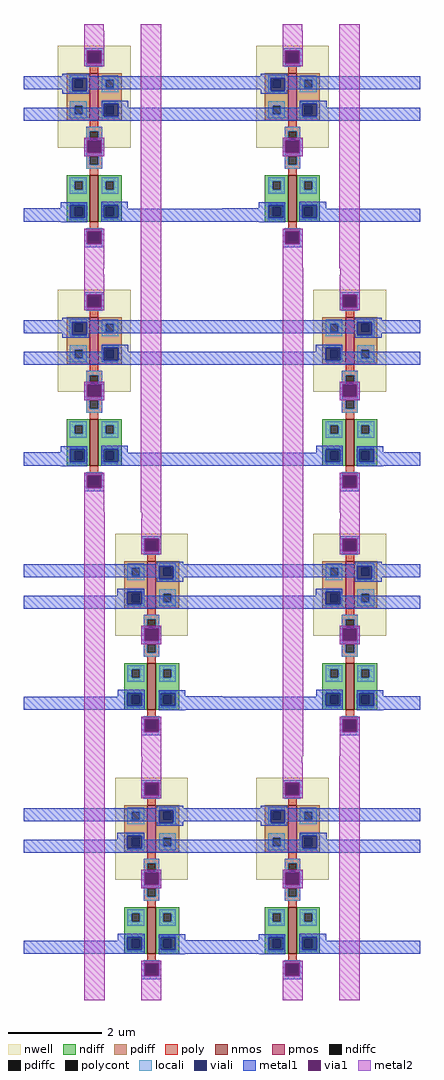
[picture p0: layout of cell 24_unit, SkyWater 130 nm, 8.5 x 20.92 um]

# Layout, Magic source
magic
tech sky130A
use 0  0_7
transform 1 0 425 0 1 -1566
box -89 43 336 566
use 0  0_6
transform -1 0 672 0 1 -1043
box -89 43 336 566
use 0  0_5
transform -1 0 672 0 1 -520
box -89 43 336 566
use 0  0_2
transform -1 0 247 0 1 -1566
box -89 43 336 566
use 0  0_4
transform -1 0 247 0 1 -1043
box -89 43 336 566
use 0  0_3
transform 1 0 0 0 1 -520
box -89 43 336 566
use 0  0_1
transform 1 0 425 0 1 3
box -89 43 336 566
use 0  0_0
transform 1 0 0 0 1 3
box -89 43 336 566
<< end >>

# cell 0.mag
magic
tech sky130A
<< nwell >>
rect -16 301 140 519
<< nmos >>
rect 53 142 71 242
<< pmos >>
rect 53 360 71 460
<< ndiff >>
rect 3 229 53 242
rect 3 211 20 229
rect 37 211 53 229
rect 3 173 53 211
rect 3 155 20 173
rect 37 155 53 173
rect 3 142 53 155
rect 71 229 121 242
rect 71 211 87 229
rect 104 211 121 229
rect 71 173 121 211
rect 71 155 87 173
rect 104 155 121 173
rect 71 142 121 155
<< pdiff >>
rect 3 447 53 460
rect 3 429 20 447
rect 37 429 53 447
rect 3 391 53 429
rect 3 373 20 391
rect 37 373 53 391
rect 3 360 53 373
rect 71 447 121 460
rect 71 429 87 447
rect 104 429 121 447
rect 71 391 121 429
rect 71 373 87 391
rect 104 373 121 391
rect 71 360 121 373
<< ndiffc >>
rect 20 211 37 229
rect 20 155 37 173
rect 87 211 104 229
rect 87 155 104 173
<< pdiffc >>
rect 20 429 37 447
rect 20 373 37 391
rect 87 429 104 447
rect 87 373 104 391
<< poly >>
rect 45 502 79 510
rect 45 484 53 502
rect 71 484 79 502
rect 45 474 79 484
rect 53 460 71 474
rect 53 346 71 360
rect 45 336 79 346
rect 45 318 53 336
rect 71 318 79 336
rect 45 282 79 318
rect 45 264 53 282
rect 71 264 79 282
rect 45 256 79 264
rect 53 242 71 256
rect 53 128 71 142
rect 45 120 79 128
rect 45 102 53 120
rect 71 102 79 120
rect 45 94 79 102
<< polycont >>
rect 53 484 71 502
rect 53 318 71 336
rect 53 264 71 282
rect 53 102 71 120
<< locali >>
rect 45 509 79 510
rect 45 482 47 509
rect 77 482 79 509
rect 45 474 79 482
rect 10 450 46 456
rect 10 423 15 450
rect 10 420 46 423
rect 78 447 114 456
rect 78 429 87 447
rect 104 429 114 447
rect 78 420 114 429
rect 10 391 46 400
rect 10 373 20 391
rect 37 373 46 391
rect 10 364 46 373
rect 78 395 114 400
rect 78 368 83 395
rect 78 364 114 368
rect 45 336 79 346
rect 45 318 53 336
rect 71 318 79 336
rect 45 317 79 318
rect 45 290 47 317
rect 77 290 79 317
rect 45 282 79 290
rect 45 264 53 282
rect 71 264 79 282
rect 45 256 79 264
rect 10 229 46 238
rect 10 211 20 229
rect 37 211 46 229
rect 10 202 46 211
rect 78 229 114 238
rect 78 211 87 229
rect 104 211 114 229
rect 78 202 114 211
rect 10 178 46 182
rect 10 151 11 178
rect 42 151 46 178
rect 10 146 46 151
rect 78 178 114 182
rect 78 151 83 178
rect 78 146 114 151
rect 45 122 79 128
rect 45 95 47 122
rect 77 95 79 122
rect 45 94 79 95
<< viali >>
rect 47 502 77 509
rect 47 484 53 502
rect 53 484 71 502
rect 71 484 77 502
rect 47 482 77 484
rect 15 447 46 450
rect 15 429 20 447
rect 20 429 37 447
rect 37 429 46 447
rect 15 423 46 429
rect 83 391 114 395
rect 83 373 87 391
rect 87 373 104 391
rect 104 373 114 391
rect 83 368 114 373
rect 47 290 77 317
rect 11 173 42 178
rect 11 155 20 173
rect 20 155 37 173
rect 37 155 42 173
rect 11 151 42 155
rect 83 173 114 178
rect 83 155 87 173
rect 87 155 104 173
rect 104 155 114 173
rect 83 151 114 155
rect 47 120 77 122
rect 47 102 53 120
rect 53 102 71 120
rect 71 102 77 120
rect 47 95 77 102
<< metal1 >>
rect 41 509 84 514
rect 41 482 47 509
rect 77 482 84 509
rect 41 475 84 482
rect -6 454 51 459
rect -89 450 336 454
rect -89 426 15 450
rect -6 423 15 426
rect 46 426 336 450
rect 46 423 51 426
rect -6 416 51 423
rect 78 395 135 402
rect 78 387 83 395
rect -89 368 83 387
rect 114 387 135 395
rect 114 368 336 387
rect -89 359 336 368
rect 41 317 84 322
rect 41 290 47 317
rect 77 290 84 317
rect 41 283 84 290
rect -10 178 47 184
rect -10 171 11 178
rect -89 151 11 171
rect 42 151 47 178
rect -89 142 47 151
rect 77 178 134 185
rect 77 151 83 178
rect 114 170 134 178
rect 114 151 336 170
rect 77 142 336 151
rect -10 141 47 142
rect 41 122 84 127
rect 41 95 47 122
rect 77 95 84 122
rect 41 88 84 95
<< via1 >>
rect 47 482 77 509
rect 47 290 77 317
rect 47 95 77 122
<< metal2 >>
rect 41 551 83 566
rect 41 509 84 551
rect 41 482 47 509
rect 77 482 84 509
rect 41 475 84 482
rect 41 317 84 322
rect 41 290 47 317
rect 77 290 84 317
rect 41 283 84 290
rect 41 122 84 127
rect 41 95 47 122
rect 77 95 84 122
rect 41 43 84 95
rect 162 43 206 566
<< labels >>
rlabel metal1 -87 440 -87 440 7 W1
port 1 w
rlabel metal1 -88 371 -88 371 7 W2
port 2 w
rlabel metal1 -88 156 -88 156 7 W3
port 3 w
rlabel metal1 334 373 334 373 3 E2
port 7 e
rlabel metal1 333 157 333 157 3 E3
port 6 e
rlabel metal2 183 48 183 48 5 S2
port 5 s
rlabel metal2 61 49 61 49 5 S1
port 4 s
rlabel metal1 333 440 333 440 3 E1
port 8 e
rlabel metal2 60 560 60 560 1 N1
port 10 n
rlabel metal2 185 559 185 559 1 N2
port 9 n
rlabel space -89 43 336 566 1 s
<< end >>
